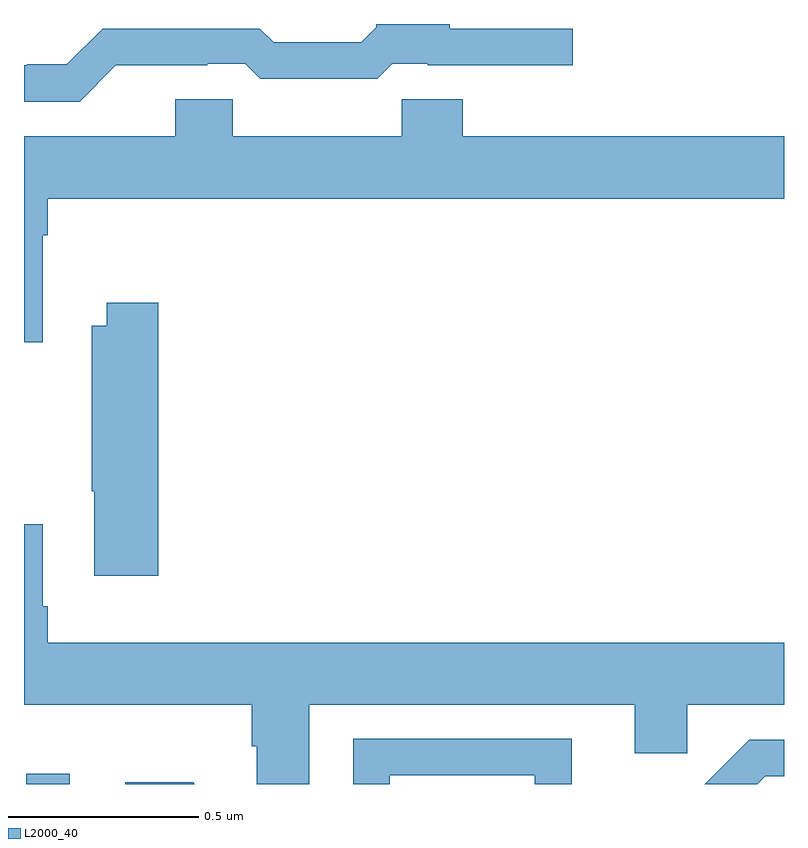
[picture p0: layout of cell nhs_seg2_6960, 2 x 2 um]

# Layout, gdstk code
import gdstk
lib = gdstk.Library(unit=1e-6, precision=1e-09)
def R(c, l, rs):  # rectangles x0, y0, x1, y1
    for r in rs: c.add(gdstk.rectangle(r[:2], r[2:], *l))
def P(c, l, *ps):  # polygons
    for p in ps: c.add(gdstk.Polygon(p, *l))
L2000_40 = (2000, 40)

nhs_seg2_6960 = lib.new_cell('nhs_seg2_6960')
R(nhs_seg2_6960, L2000_40, [(198.006,608.8,198.121,608.827)])
P(nhs_seg2_6960, L2000_40, [(198.242,610.691),(198.482,610.691),(198.482,610.695),(198.582,610.695),(198.622,610.656),(198.929,610.656),(198.969,610.695),(199.063,610.695),(199.063,610.691),(199.444,610.691),(199.444,610.788),(199.12,610.788),(199.12,610.8),(198.927,610.8),(198.927,610.791),(198.888,610.752),(198.657,610.752),(198.621,610.788),(198.207,610.788),(198.113,610.694),(198.008,610.694),(198.008,610.692),(198,610.692),(198,610.596),(198.147,610.596)],
  [(198.049,610.244),(198.062,610.244),(198.062,610.34),(200,610.34),(200,610.504),(199.154,610.504),(199.154,610.602),(198.994,610.602),(198.994,610.504),(198.549,610.504),(198.549,610.602),(198.398,610.602),(198.398,610.504),(198,610.504),(198,609.963),(198.049,609.963)],
  [(198.353,610.066),(198.218,610.066),(198.218,610.006),(198.178,610.006),(198.178,609.571),(198.185,609.571),(198.185,609.348),(198.353,609.348)],
  [(198.751,609.008),(199.607,609.008),(199.607,608.881),(199.746,608.881),(199.746,609.008),(200,609.008),(200,609.172),(198.062,609.172),(198.062,609.268),(198.049,609.268),(198.049,609.484),(198,609.484),(198,609.008),(198.599,609.008),(198.599,608.899),(198.612,608.899),(198.612,608.8),(198.751,608.8)],
  [(198.963,608.823),(199.344,608.823),(199.344,608.8),(199.441,608.8),(199.441,608.919),(198.867,608.919),(198.867,608.8),(198.963,608.8)],
  [(199.95,608.82),(200,608.82),(200,608.916),(199.908,608.916),(199.792,608.8),(199.93,608.8)],
  [(198.445,608.804),(198.267,608.804),(198.267,608.8),(198.449,608.8)])

lib.write_gds('nhs_seg2_6960.gds')
